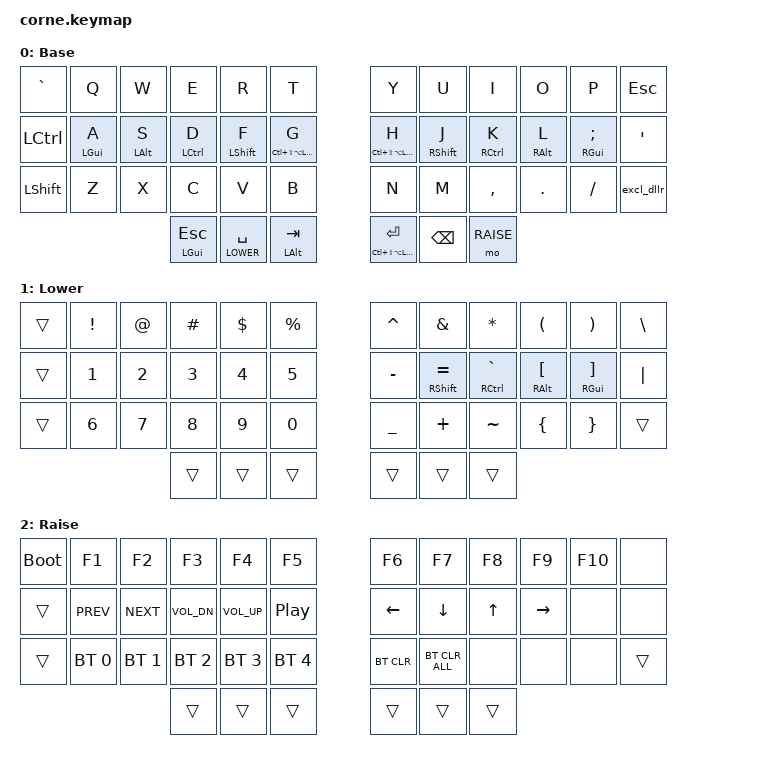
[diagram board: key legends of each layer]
/*
 * Copyright (c) 2020 The ZMK Contributors
 *
 * SPDX-License-Identifier: MIT
 */

#include <behaviors.dtsi>
#include <dt-bindings/zmk/keys.h>
#include <dt-bindings/zmk/bt.h>

#include "zmk-helpers/helper.h"
#include "zmk-helpers/key-labels/42.h"

#define BASE  0
#define LOWER 1
#define RAISE 2

#define KEYS_L LT0 LT1 LT2 LT3 LT4 LT5 LM0 LM1 LM2 LM3 LM4 LM5 LB0 LB1 LB2 LB3 LB4 LB5
#define KEYS_R RT0 RT1 RT2 RT3 RT4 RT5 RM0 RM1 RM2 RM3 RM4 RM5 RB0 RB1 RB2 RB3 RB4 RB5
#define THUMBS LH2 LH1 LH0 RH0 RH1 RH2
#define HYPER  LC(LS(LA(LGUI)))

// Robust homerow mods (urob "timeless" style): positional, opposite-hand only
ZMK_BEHAVIOR(hml, hold_tap,
    flavor = "balanced";
    tapping-term-ms = <280>;
    quick-tap-ms = <175>;
    require-prior-idle-ms = <150>;
    bindings = <&kp>, <&kp>;
    hold-trigger-key-positions = <KEYS_R THUMBS>;
    hold-trigger-on-release;
)

ZMK_BEHAVIOR(hmr, hold_tap,
    flavor = "balanced";
    tapping-term-ms = <280>;
    quick-tap-ms = <175>;
    require-prior-idle-ms = <150>;
    bindings = <&kp>, <&kp>;
    hold-trigger-key-positions = <KEYS_L THUMBS>;
    hold-trigger-on-release;
)

// Tap = !, Shift+tap = $
ZMK_BEHAVIOR(excl_dllr, mod_morph,
    bindings = <&kp EXCL>, <&kp DLLR>;
    mods = <(MOD_LSFT|MOD_RSFT)>;
)

/ {
    keymap {
        compatible = "zmk,keymap";

        base_layer {
            display-name = "Base";
            bindings = <
   &kp GRAVE  &kp Q  &kp W  &kp E  &kp R  &kp T    &kp Y  &kp U  &kp I      &kp O    &kp P     &kp ESC
   &kp LCTRL  &hml LGUI A  &hml LALT S  &hml LCTRL D  &hml LSHFT F  &hml HYPER G      &hmr HYPER H  &hmr RSHFT J  &hmr RCTRL K  &hmr RALT L  &hmr RGUI SEMI  &kp SQT
   &kp LSHFT  &kp Z  &kp X  &kp C  &kp V  &kp B      &kp N  &kp M  &kp COMMA  &kp DOT  &kp FSLH  &excl_dllr
                     &mt LGUI ESC  &lt LOWER SPACE  &mt LALT TAB      &mt HYPER RET  &kp BSPC  &mo RAISE
            >;
        };

        lower_layer {
            display-name = "Lower";
            bindings = <
   &trans  &kp EXCL  &kp AT  &kp HASH  &kp DLLR  &kp PRCNT      &kp CARET  &kp AMPS   &kp ASTRK  &kp LPAR  &kp RPAR  &kp BSLH
   &trans  &kp N1    &kp N2  &kp N3    &kp N4    &kp N5         &kp MINUS  &hmr RSHFT EQUAL  &hmr RCTRL GRAVE  &hmr RALT LBKT  &hmr RGUI RBKT  &kp PIPE
   &trans  &kp N6    &kp N7  &kp N8    &kp N9    &kp N0         &kp UNDER  &kp PLUS   &kp TILDE  &kp LBRC  &kp RBRC  &trans
                               &trans  &trans  &trans      &trans  &trans  &trans
            >;
        };

        raise_layer {
            display-name = "Raise";
            bindings = <
   &bootloader  &kp F1      &kp F2      &kp F3        &kp F4        &kp F5      &kp F6    &kp F7    &kp F8  &kp F9     &kp F10  &none
   &trans       &kp C_PREV  &kp C_NEXT  &kp C_VOL_DN  &kp C_VOL_UP  &kp C_PP    &kp LEFT  &kp DOWN  &kp UP  &kp RIGHT  &none    &none
   &trans       &bt BT_SEL 0  &bt BT_SEL 1  &bt BT_SEL 2  &bt BT_SEL 3  &bt BT_SEL 4    &bt BT_CLR  &bt BT_CLR_ALL  &none  &none  &none  &trans
                                        &trans  &trans  &trans      &trans  &trans  &trans
            >;
        };
    };
};
